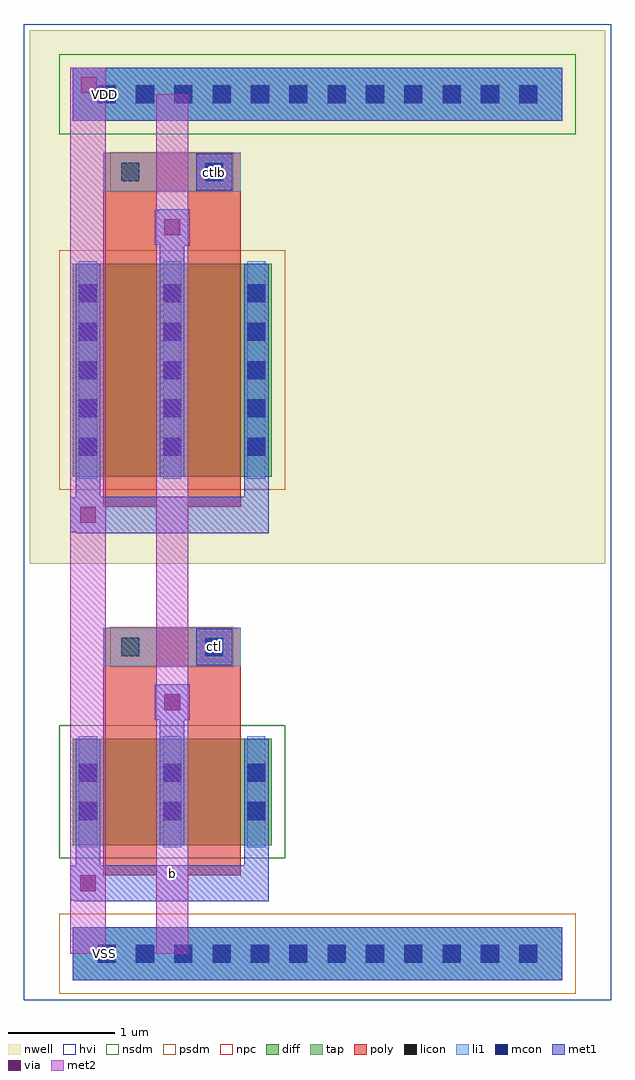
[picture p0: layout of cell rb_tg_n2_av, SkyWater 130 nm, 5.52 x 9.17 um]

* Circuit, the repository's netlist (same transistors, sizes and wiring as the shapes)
.subckt rb_tg_n2_av b ctl ctlb VDD VSS
Mn_0 b ctl VDD VSS nfet_g5v0d10v5 w=1.000u l=0.500u
Mn_1 b ctl VDD VSS nfet_g5v0d10v5 w=1.000u l=0.500u
Mp_0 b ctlb VDD VDD pfet_g5v0d10v5 w=2.000u l=0.500u
Mp_1 b ctlb VDD VDD pfet_g5v0d10v5 w=2.000u l=0.500u
.ends rb_tg_n2_av

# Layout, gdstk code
import gdstk
lib = gdstk.Library(unit=1e-6, precision=1e-09)
def R(c, l, rs):  # rectangles x0, y0, x1, y1
    for r in rs: c.add(gdstk.rectangle(r[:2], r[2:], *l))
def A(c, l, x, y, w, h, nx, ny, dx, dy):  # array of equal rectangles
    R(c, l, [(x+i*dx, y+j*dy, x+i*dx+w, y+j*dy+h) for i in range(nx) for j in range(ny)])
nwell = (64, 20)
diff = (65, 20)
tap = (65, 44)
poly = (66, 20)
licon = (66, 44)
li1 = (67, 20)
mcon = (67, 44)
met1 = (68, 20)
via = (68, 44)
met2 = (69, 20)
hvi = (75, 20)
nsdm = (93, 44)
psdm = (94, 20)
npc = (95, 20)

rb_tg_n2_av = lib.new_cell('rb_tg_n2_av')
R(rb_tg_n2_av, nwell, [(0.06,4.095,5.46,9.105)])
R(rb_tg_n2_av, diff, [(0.46,1.455,2.33,2.455), (0.46,4.915,2.33,6.915)])
R(rb_tg_n2_av, tap, [(0.46,0.185,5.06,0.685), (0.46,8.255,5.06,8.755)])
R(rb_tg_n2_av, poly, [(0.75,1.17,1.25,2.74), (1.54,1.17,2.04,2.74), (0.75,2.455,1.25,3.315), (1.54,2.455,2.04,3.315), (0.75,3.135,2.04,3.495), (0.75,4.63,1.25,7.2), (1.54,4.63,2.04,7.2), (0.75,6.915,1.25,7.775), (1.54,6.915,2.04,7.775), (0.75,7.595,2.04,7.955)])
A(rb_tg_n2_av, licon, 0.695, 0.35, 0.17, 0.17, 12, 2, 0.36, 8.07)
A(rb_tg_n2_av, licon, 0.52, 1.69, 0.17, 0.17, 3, 2, 0.79, 0.36)
A(rb_tg_n2_av, licon, 0.52, 5.11, 0.17, 0.17, 3, 5, 0.79, 0.36)
R(rb_tg_n2_av, licon, [(0.915,3.23,1.085,3.4), (1.705,3.23,1.875,3.4), (0.915,7.69,1.085,7.86), (1.705,7.69,1.875,7.86)])
A(rb_tg_n2_av, li1, 0.52, 1.435, 0.17, 1.04, 3, 1, 0.79, 0)
A(rb_tg_n2_av, li1, 0.52, 4.895, 0.17, 2.04, 3, 1, 0.79, 0)
R(rb_tg_n2_av, li1, [(0.46,0.185,5.06,0.685), (0.75,3.135,2.04,3.495), (0.75,7.595,2.04,7.955), (0.46,8.255,5.06,8.755)])
A(rb_tg_n2_av, mcon, 0.695, 0.35, 0.17, 0.17, 12, 2, 0.36, 8.07)
A(rb_tg_n2_av, mcon, 0.52, 1.69, 0.17, 0.17, 3, 2, 0.79, 0.36)
A(rb_tg_n2_av, mcon, 0.52, 5.11, 0.17, 0.17, 3, 5, 0.79, 0.36)
R(rb_tg_n2_av, mcon, [(1.705,3.23,1.875,3.4), (1.705,7.69,1.875,7.86)])
A(rb_tg_n2_av, met1, 0.49, 1.455, 0.23, 1, 3, 1, 0.79, 0)
A(rb_tg_n2_av, met1, 0.49, 4.915, 0.23, 2, 3, 1, 0.79, 0)
R(rb_tg_n2_av, met1, [(0.46,0.185,5.06,0.685), (0.49,0.925,0.72,1.455), (0.49,0.925,2.3,1.265), (2.07,0.925,2.3,1.455), (0.44,0.93,0.77,1.26), (1.28,2.455,1.51,2.965), (1.28,2.625,1.51,2.965), (1.395,2.625,1.56,2.965), (1.23,2.63,1.56,2.96), (1.62,3.145,1.96,3.485), (0.49,4.385,0.72,4.915), (0.49,4.385,2.3,4.725), (2.07,4.385,2.3,4.915), (0.44,4.39,0.77,4.72), (1.28,6.915,1.51,7.425), (1.28,7.085,1.51,7.425), (1.395,7.085,1.56,7.425), (1.23,7.09,1.56,7.42), (1.62,7.605,1.96,7.945), (0.46,8.255,5.06,8.755)])
R(rb_tg_n2_av, via, [(0.53,1.02,0.68,1.17), (1.32,2.72,1.47,2.87), (0.53,4.48,0.68,4.63), (1.32,7.18,1.47,7.33), (0.535,8.52,0.685,8.67)])
R(rb_tg_n2_av, met2, [(0.44,0.435,0.77,8.755), (0.455,0.435,0.755,8.505), (1.245,0.435,1.545,8.505), (0.44,0.93,0.77,1.26), (1.23,2.63,1.56,2.96), (0.44,4.39,0.77,4.72), (1.23,7.09,1.56,7.42)])
R(rb_tg_n2_av, hvi, [(0,0,5.52,9.165)])
R(rb_tg_n2_av, nsdm, [(0.335,1.33,2.455,2.58), (0.335,8.13,5.185,8.88)])
R(rb_tg_n2_av, psdm, [(0.335,0.06,5.185,0.81), (0.335,4.79,2.455,7.04)])
R(rb_tg_n2_av, npc, [(0.815,3.13,1.975,3.5), (0.815,7.59,1.975,7.96)])
rb_tg_n2_av.add(gdstk.Label('ctl', (1.79,3.315), layer=68, texttype=5))
rb_tg_n2_av.add(gdstk.Label('ctlb', (1.79,7.775), layer=68, texttype=5))
rb_tg_n2_av.add(gdstk.Label('VSS', (0.76,0.435), layer=68, texttype=5))
rb_tg_n2_av.add(gdstk.Label('VDD', (0.76,8.505), layer=68, texttype=5))
rb_tg_n2_av.add(gdstk.Label('b', (1.395,1.185), layer=69, texttype=5))

lib.write_gds('rb_tg_n2_av.gds')
